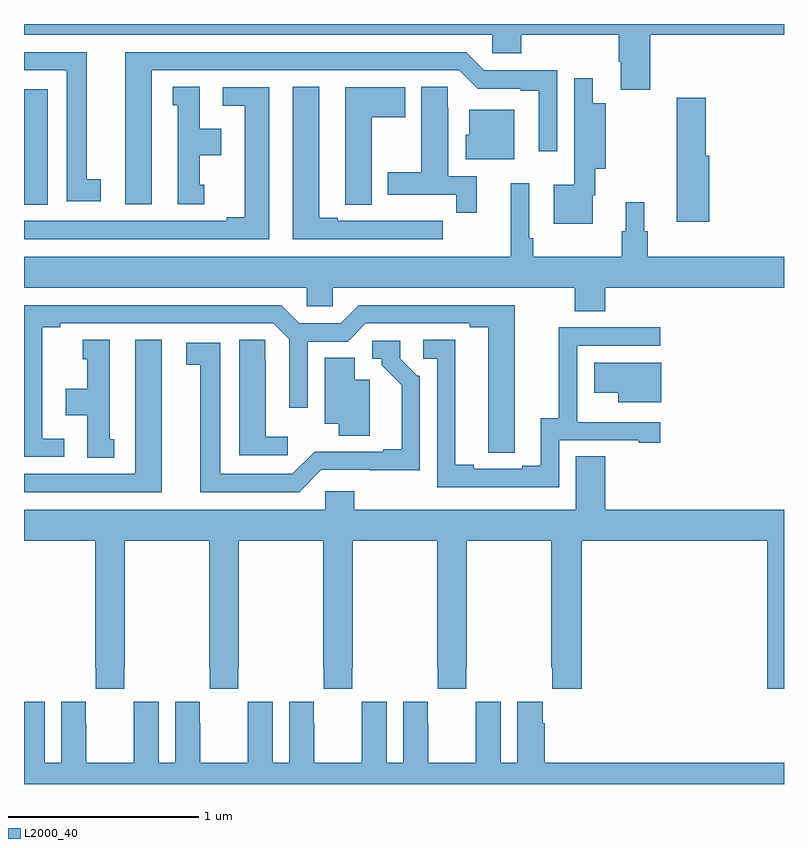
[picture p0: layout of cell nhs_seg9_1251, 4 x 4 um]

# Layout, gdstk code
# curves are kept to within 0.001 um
import gdstk
lib = gdstk.Library(unit=1e-6, precision=1e-09)
def R(c, l, rs):  # rectangles x0, y0, x1, y1
    for r in rs: c.add(gdstk.rectangle(r[:2], r[2:], *l))
def P(c, l, *ps):  # polygons
    for p in ps: c.add(gdstk.Polygon(p, *l))
L2000_40 = (2000, 40)

nhs_seg9_1251 = lib.new_cell('nhs_seg9_1251')
R(nhs_seg9_1251, L2000_40, [(181,1171.549,181.126,1172.157)])
P(nhs_seg9_1251, L2000_40, [(184.295,1172.444),(185,1172.444),(185,1172.5),(181,1172.5),(181,1172.444),(183.465,1172.444),(183.465,1172.346),(183.617,1172.346),(183.617,1172.444),(184.13,1172.444),(184.13,1172.302),(184.142,1172.302),(184.142,1172.154),(184.295,1172.154)],
  [(181.405,1171.682),(181.33,1171.682),(181.33,1172.352),(181,1172.352),(181,1172.256),(181.226,1172.256),(181.226,1171.566),(181.405,1171.566)],
  [(181.672,1172.256),(183.291,1172.256),(183.387,1172.16),(183.614,1172.16),(183.614,1172.148),(183.71,1172.148),(183.71,1171.83),(183.807,1171.83),(183.807,1172.256),(183.423,1172.256),(183.327,1172.352),(181.532,1172.352),(181.532,1171.551),(181.672,1171.551)],
  [(183.993,1171.598),(184.006,1171.598),(184.006,1171.739),(184.062,1171.739),(184.062,1172.083),(183.994,1172.083),(183.994,1172.215),(183.896,1172.215),(183.896,1171.979),(183.895,1171.979),(183.895,1171.654),(183.788,1171.654),(183.788,1171.448),(183.993,1171.448)],
  [(183.205,1171.464),(183.092,1171.464),(183.092,1171.465),(182.926,1171.465),(182.926,1171.464),(182.65,1171.464),(182.65,1171.479),(182.554,1171.479),(182.554,1172.171),(182.414,1172.171),(182.414,1171.368),(183.205,1171.368)],
  [(181.948,1171.653),(181.924,1171.653),(181.924,1171.808),(182.038,1171.808),(182.038,1171.948),(181.924,1171.948),(181.924,1172.171),(181.784,1172.171),(181.784,1172.073),(181.808,1172.073),(181.808,1171.551),(181.948,1171.551)],
  [(183.383,1171.698),(183.232,1171.698),(183.232,1172.06),(183.231,1172.06),(183.231,1172.171),(183.092,1172.171),(183.092,1171.719),(182.915,1171.719),(182.915,1171.602),(183.274,1171.602),(183.274,1171.506),(183.383,1171.506)],
  [(182.83,1172.008),(183.007,1172.008),(183.007,1172.167),(182.69,1172.167),(182.69,1171.657),(182.691,1171.657),(182.691,1171.549),(182.83,1171.549)],
  [(182.29,1172.166),(182.046,1172.166),(182.046,1172.07),(182.162,1172.07),(182.162,1171.484),(182.066,1171.484),(182.066,1171.464),(181,1171.464),(181,1171.368),(182.29,1171.368)],
  [(184.607,1171.806),(184.589,1171.806),(184.589,1172.113),(184.435,1172.113),(184.435,1171.806),(184.436,1171.806),(184.436,1171.458),(184.607,1171.458)],
  [(183.58,1172.05),(183.344,1172.05),(183.344,1171.917),(183.326,1171.917),(183.326,1171.787),(183.58,1171.787)],
  [(184.058,1171.112),(185,1171.112),(185,1171.276),(184.283,1171.276),(184.283,1171.41),(184.264,1171.41),(184.264,1171.561),(184.166,1171.561),(184.166,1171.41),(184.147,1171.41),(184.147,1171.276),(183.68,1171.276),(183.68,1171.372),(183.66,1171.372),(183.66,1171.663),(183.563,1171.663),(183.563,1171.276),(181,1171.276),(181,1171.112),(182.487,1171.112),(182.487,1171.014),(182.625,1171.014),(182.625,1171.112),(183.898,1171.112),(183.898,1170.988),(184.058,1170.988)],
  [(181.213,1170.318),(181.096,1170.318),(181.096,1170.904),(181.192,1170.904),(181.192,1170.924),(182.313,1170.924),(182.397,1170.84),(182.397,1170.48),(182.493,1170.48),(182.493,1170.828),(182.703,1170.828),(182.799,1170.924),(183.347,1170.924),(183.347,1170.904),(183.443,1170.904),(183.443,1170.244),(183.582,1170.244),(183.583,1171.02),(182.763,1171.02),(182.667,1170.924),(182.449,1170.924),(182.353,1171.02),(181,1171.02),(181,1170.222),(181.213,1170.222)],
  [(183.816,1170.309),(184.235,1170.309),(184.235,1170.297),(184.348,1170.297),(184.348,1170.405),(183.914,1170.405),(183.914,1170.406),(183.912,1170.406),(183.912,1170.807),(184.348,1170.807),(184.348,1170.903),(183.814,1170.903),(183.814,1170.425),(183.719,1170.425),(183.719,1170.174),(183.623,1170.174),(183.623,1170.159),(183.367,1170.159),(183.367,1170.179),(183.271,1170.179),(183.271,1170.839),(183.102,1170.839),(183.102,1170.738),(183.174,1170.738),(183.174,1170.063),(183.816,1170.063)],
  [(182.389,1170.328),(182.272,1170.328),(182.272,1170.731),(182.271,1170.731),(182.271,1170.839),(182.132,1170.839),(182.132,1170.231),(182.389,1170.231)],
  [(181.474,1170.315),(181.45,1170.315),(181.45,1170.838),(181.31,1170.838),(181.31,1170.735),(181.334,1170.735),(181.334,1170.58),(181.22,1170.58),(181.22,1170.44),(181.334,1170.44),(181.334,1170.217),(181.474,1170.217)],
  [(181.726,1170.838),(181.586,1170.838),(181.586,1170.132),(181,1170.132),(181,1170.036),(181.726,1170.036)],
  [(182.565,1170.153),(183.084,1170.152),(183.084,1170.648),(183.069,1170.648),(182.979,1170.738),(182.979,1170.834),(182.832,1170.834),(182.832,1170.738),(182.882,1170.738),(182.882,1170.703),(182.987,1170.598),(182.987,1170.262),(182.891,1170.262),(182.891,1170.249),(182.53,1170.25),(182.412,1170.132),(182.032,1170.132),(182.032,1170.822),(181.854,1170.822),(181.854,1170.706),(181.928,1170.706),(181.928,1170.036),(182.448,1170.036)],
  [(182.821,1170.628),(182.74,1170.628),(182.74,1170.743),(182.582,1170.743),(182.582,1170.395),(182.657,1170.395),(182.657,1170.334),(182.821,1170.334)],
  [(184.354,1170.718),(184.002,1170.718),(184.002,1170.56),(184.127,1170.56),(184.127,1170.509),(184.354,1170.509)],
  [(181.527,1169.113),(181.53,1169.113),(181.53,1169.78),(181.975,1169.78),(181.975,1169.113),(181.977,1169.113),(181.977,1169.001),(182.127,1169.001),(182.127,1169.113),(182.13,1169.113),(182.13,1169.78),(182.575,1169.78),(182.575,1169.113),(182.577,1169.113),(182.577,1169.001),(182.727,1169.001),(182.727,1169.113),(182.73,1169.113),(182.73,1169.78),(183.175,1169.78),(183.175,1169.113),(183.177,1169.113),(183.177,1169.001),(183.327,1169.001),(183.327,1169.113),(183.33,1169.113),(183.33,1169.78),(183.775,1169.78),(183.775,1169.113),(183.781,1169.113),(183.781,1169.001),(183.935,1169.001),(183.935,1169.78),(184.913,1169.78),(184.913,1169.001),(185,1169.001),(185,1169.944),(184.058,1169.944),(184.058,1170.224),(183.905,1170.224),(183.905,1169.944),(182.738,1169.944),(182.738,1170.042),(182.586,1170.042),(182.586,1169.944),(181,1169.944),(181,1169.78),(181.375,1169.78),(181.375,1169.113),(181.377,1169.113),(181.377,1169.001),(181.527,1169.001)],
  [(185,1168.612),(183.74,1168.612),(183.74,1168.82),(183.73,1168.82),(183.73,1168.933),(183.596,1168.933),(183.596,1168.612),(183.508,1168.612),(183.508,1168.933),(183.378,1168.933),(183.378,1168.82),(183.377,1168.82),(183.377,1168.612),(183.127,1168.612),(183.127,1168.82),(183.126,1168.82),(183.126,1168.933),(182.996,1168.933),(182.996,1168.612),(182.908,1168.612),(182.908,1168.933),(182.778,1168.933),(182.778,1168.82),(182.777,1168.82),(182.777,1168.612),(182.527,1168.612),(182.527,1168.82),(182.526,1168.82),(182.526,1168.933),(182.396,1168.933),(182.396,1168.612),(182.308,1168.612),(182.308,1168.933),(182.178,1168.933),(182.178,1168.82),(182.177,1168.82),(182.177,1168.612),(181.927,1168.612),(181.927,1168.82),(181.926,1168.82),(181.926,1168.933),(181.796,1168.933),(181.796,1168.612),(181.708,1168.612),(181.708,1168.933),(181.578,1168.933),(181.578,1168.82),(181.577,1168.82),(181.577,1168.612),(181.327,1168.612),(181.327,1168.82),(181.326,1168.82),(181.326,1168.933),(181.196,1168.933),(181.196,1168.612),(181.108,1168.612),(181.108,1168.933),(181,1168.933),(181,1168.5),(185,1168.5)])

lib.write_gds('nhs_seg9_1251.gds')
